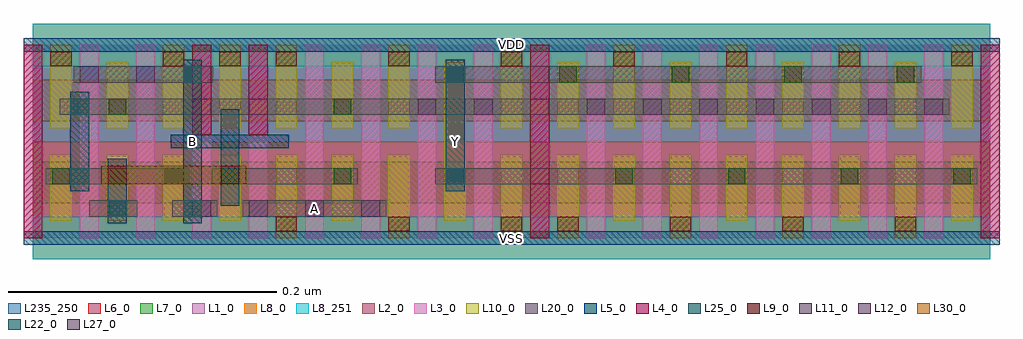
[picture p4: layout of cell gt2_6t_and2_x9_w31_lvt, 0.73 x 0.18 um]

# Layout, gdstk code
import gdstk
lib = gdstk.Library(unit=1e-6, precision=5e-10)
def R(c, l, rs):  # rectangles x0, y0, x1, y1
    for r in rs: c.add(gdstk.rectangle(r[:2], r[2:], *l))
def A(c, l, x, y, w, h, nx, ny, dx, dy):  # array of equal rectangles
    R(c, l, [(x+i*dx, y+j*dy, x+i*dx+w, y+j*dy+h) for i in range(nx) for j in range(ny)])
L1_0 = (1, 0)
L2_0 = (2, 0)
L3_0 = (3, 0)
L4_0 = (4, 0)
L5_0 = (5, 0)
L6_0 = (6, 0)
L7_0 = (7, 0)
L8_0 = (8, 0)
L8_251 = (8, 251)
L9_0 = (9, 0)
L10_0 = (10, 0)
L11_0 = (11, 0)
L12_0 = (12, 0)
L20_0 = (20, 0)
L22_0 = (22, 0)
L25_0 = (25, 0)
L27_0 = (27, 0)
L30_0 = (30, 0)
L235_250 = (235, 250)

gt2_6t_and2_x9_w31_lvt = lib.new_cell('gt2_6t_and2_x9_w31_lvt')
R(gt2_6t_and2_x9_w31_lvt, L1_0, [(0,0.072,0.714,0.144)])
R(gt2_6t_and2_x9_w31_lvt, L2_0, [(0,0.026,0.714,0.057), (0,0.087,0.714,0.118)])
A(gt2_6t_and2_x9_w31_lvt, L3_0, -0.007, 0, 0.014, 0.144, 18, 1, 0.042, 0)
R(gt2_6t_and2_x9_w31_lvt, L4_0, [(-0.007,0,0.007,0.144), (0.371,0,0.385,0.144), (0.707,0,0.721,0.144), (0.119,0.077,0.133,0.144), (0.161,0.077,0.175,0.144)])
R(gt2_6t_and2_x9_w31_lvt, L5_0, [(-0.007,-0.005,0.721,0.005), (0.103,0.067,0.191,0.077), (-0.007,0.139,0.721,0.149)])
R(gt2_6t_and2_x9_w31_lvt, L6_0, [(0,0,0.714,0.072)])
R(gt2_6t_and2_x9_w31_lvt, L7_0, [(0,0.072,0.714,0.144)])
R(gt2_6t_and2_x9_w31_lvt, L8_0, [(0,-0.016,0.714,0.016), (0,0.128,0.714,0.16)])
R(gt2_6t_and2_x9_w31_lvt, L8_251, [(0,-0.016,0.714,0.016), (0,0.128,0.714,0.16)])
A(gt2_6t_and2_x9_w31_lvt, L9_0, 0.181, 0.005, 0.016, 0.011, 3, 1, 0.084, 0)
A(gt2_6t_and2_x9_w31_lvt, L9_0, 0.391, 0.005, 0.016, 0.011, 4, 1, 0.084, 0)
A(gt2_6t_and2_x9_w31_lvt, L9_0, 0.097, 0.128, 0.016, 0.011, 3, 1, 0.042, 0)
A(gt2_6t_and2_x9_w31_lvt, L9_0, 0.265, 0.128, 0.016, 0.011, 6, 1, 0.084, 0)
R(gt2_6t_and2_x9_w31_lvt, L9_0, [(0.013,0.128,0.029,0.139)])
A(gt2_6t_and2_x9_w31_lvt, L10_0, 0.181, 0, 0.016, 0.062, 3, 1, 0.084, 0)
A(gt2_6t_and2_x9_w31_lvt, L10_0, 0.391, 0, 0.016, 0.062, 4, 1, 0.084, 0)
A(gt2_6t_and2_x9_w31_lvt, L10_0, 0.013, 0.013, 0.016, 0.049, 4, 1, 0.042, 0)
A(gt2_6t_and2_x9_w31_lvt, L10_0, 0.433, 0.013, 0.016, 0.049, 4, 1, 0.084, 0)
A(gt2_6t_and2_x9_w31_lvt, L10_0, 0.055, 0.082, 0.016, 0.049, 3, 1, 0.168, 0)
A(gt2_6t_and2_x9_w31_lvt, L10_0, 0.097, 0.082, 0.016, 0.062, 3, 1, 0.042, 0)
A(gt2_6t_and2_x9_w31_lvt, L10_0, 0.265, 0.082, 0.016, 0.062, 6, 1, 0.084, 0)
A(gt2_6t_and2_x9_w31_lvt, L10_0, 0.475, 0.082, 0.016, 0.049, 3, 1, 0.084, 0)
R(gt2_6t_and2_x9_w31_lvt, L10_0, [(0.223,0.013,0.239,0.062), (0.307,0.013,0.323,0.131), (0.013,0.082,0.029,0.144)])
A(gt2_6t_and2_x9_w31_lvt, L11_0, 0.1405, 0.04, 0.013, 0.012, 3, 1, 0.084, 0)
A(gt2_6t_and2_x9_w31_lvt, L11_0, 0.4345, 0.04, 0.013, 0.012, 4, 1, 0.084, 0)
A(gt2_6t_and2_x9_w31_lvt, L11_0, 0.3085, 0.116, 0.013, 0.012, 5, 1, 0.084, 0)
R(gt2_6t_and2_x9_w31_lvt, L11_0, [(0.0565,0.016,0.0695,0.028), (0.0145,0.04,0.0275,0.052), (0.0985,0.04,0.1115,0.052), (0.0565,0.092,0.0695,0.104), (0.2245,0.092,0.2375,0.104)])
A(gt2_6t_and2_x9_w31_lvt, L12_0, 0.119, 0.016, 0.014, 0.012, 4, 1, 0.042, 0)
A(gt2_6t_and2_x9_w31_lvt, L12_0, 0.413, 0.092, 0.014, 0.012, 7, 1, 0.042, 0)
R(gt2_6t_and2_x9_w31_lvt, L12_0, [(0.287,0.092,0.301,0.104), (0.329,0.092,0.343,0.104), (0.035,0.116,0.049,0.128), (0.077,0.116,0.091,0.128)])
R(gt2_6t_and2_x9_w31_lvt, L20_0, [(0.042,0.016,0.078,0.028), (0.104,0.016,0.1375,0.028), (0.1565,0.016,0.2635,0.028), (0.0095,0.04,0.1165,0.052), (0.1335,0.04,0.2425,0.052), (0.3,0.04,0.7045,0.052), (0.02,0.092,0.6835,0.104), (0.0305,0.116,0.134,0.128), (0.3,0.116,0.6625,0.128)])
R(gt2_6t_and2_x9_w31_lvt, L22_0, [(0.056,0.016,0.07,0.028), (0.112,0.016,0.126,0.028), (0.028,0.04,0.042,0.052), (0.14,0.04,0.154,0.052), (0.308,0.04,0.322,0.052), (0.028,0.092,0.042,0.104), (0.112,0.116,0.126,0.128), (0.308,0.116,0.322,0.128)])
R(gt2_6t_and2_x9_w31_lvt, L25_0, [(0.056,0.011,0.07,0.059), (0.112,0.011,0.126,0.133), (0.14,0.024,0.154,0.096), (0.028,0.035,0.042,0.109), (0.308,0.035,0.322,0.133)])
R(gt2_6t_and2_x9_w31_lvt, L27_0, [(0.056,0.04,0.07,0.054), (0.14,0.04,0.154,0.054)])
R(gt2_6t_and2_x9_w31_lvt, L30_0, [(0.051,0.04,0.159,0.054)])
R(gt2_6t_and2_x9_w31_lvt, L235_250, [(0,0,0.714,0.144)])
gt2_6t_and2_x9_w31_lvt.add(gdstk.Label('VSS', (0.357,0), layer=8, texttype=251))
gt2_6t_and2_x9_w31_lvt.add(gdstk.Label('VDD', (0.357,0.144), layer=8, texttype=251))
gt2_6t_and2_x9_w31_lvt.add(gdstk.Label('A', (0.21,0.022), layer=20, texttype=251))
gt2_6t_and2_x9_w31_lvt.add(gdstk.Label('Y', (0.315,0.072), layer=25, texttype=251))
gt2_6t_and2_x9_w31_lvt.add(gdstk.Label('B', (0.119,0.072), layer=25, texttype=251))

lib.write_gds('gt2_6t_and2_x9_w31_lvt.gds')
